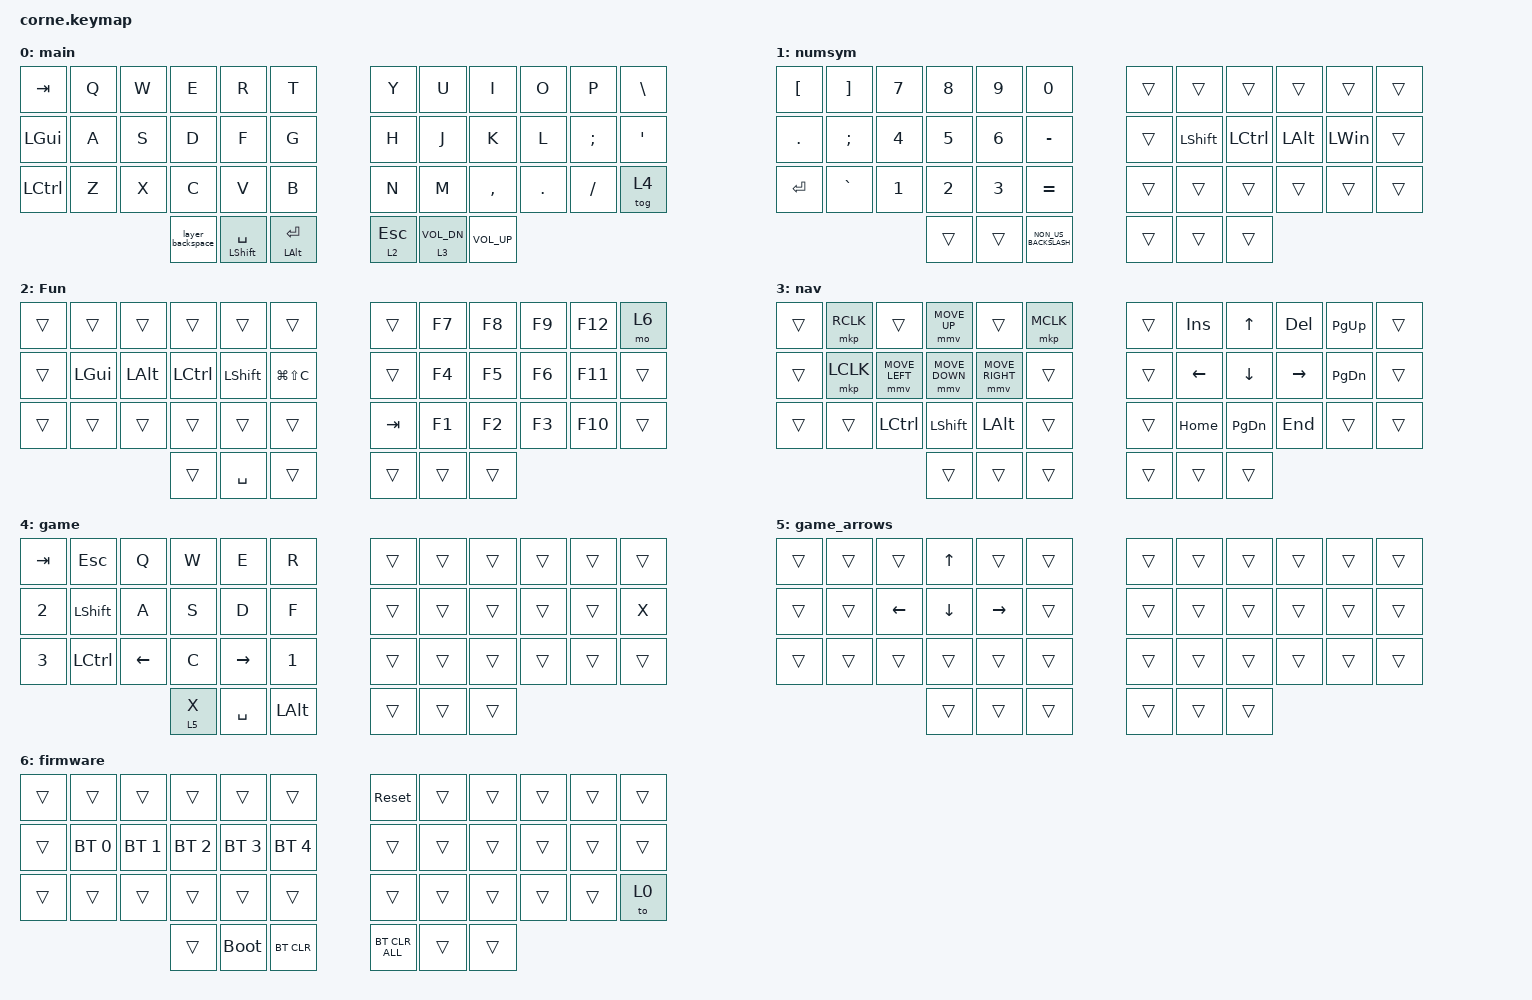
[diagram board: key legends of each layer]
/*
 * Copyright (c) 2020 The ZMK Contributors
 *
 * SPDX-License-Identifier: MIT
 */

#include <dt-bindings/zmk/mouse.h>
#include <behaviors.dtsi>
#include <dt-bindings/zmk/bt.h>
#include <dt-bindings/zmk/keys.h>
#include <dt-bindings/zmk/pointing.h>

&lt { tapping-term-ms = <200>; };

&mt { tapping-term-ms = <200>; };

/ {
    combos {
        compatible = "zmk,combos";

        caps_lock {
            bindings = <&kp CAPSLOCK>;
            key-positions = <24 35>;
        };
    };

    behaviors {
        caps_lock: caps_lock {
            compatible = "zmk,behavior-tap-dance";
            label = "CAPS_LOCK";
            #binding-cells = <0>;
            bindings = <&none>, <&kp CAPSLOCK>;

            tapping-term-ms = <200>;
        };

        layer_backspace: layer_backspace {
            compatible = "zmk,behavior-tap-dance";
            label = "LAYER_BACKSPACE";
            #binding-cells = <0>;
            bindings = <&lt 1 BACKSPACE>, <&kp BACKSPACE>;

            tapping-term-ms = <100>;
        };

        space_nav: space_nav {
            compatible = "zmk,behavior-hold-tap";
            label = "SPACE_NAV";
            bindings = <&mo>, <&kp>;

            #binding-cells = <2>;
            tapping-term-ms = <150>;
            flavor = "tap-preferred";
        };

        space_shift: space_shift {
            compatible = "zmk,behavior-hold-tap";
            label = "SPACE_SHIFT";
            bindings = <&kp>, <&kp>;

            #binding-cells = <2>;
            tapping-term-ms = <300>;
            flavor = "tap-preferred";
        };
    };

    keymap {
        compatible = "zmk,keymap";

        main {
            bindings = <
&kp TAB           &kp Q  &kp W  &kp E             &kp R                          &kp T                 &kp Y         &kp U           &kp I            &kp O    &kp P          &kp BACKSLASH
&kp LEFT_GUI      &kp A  &kp S  &kp D             &kp F                          &kp G                 &kp H         &kp J           &kp K            &kp L    &kp SEMICOLON  &kp SQT
&kp LEFT_CONTROL  &kp Z  &kp X  &kp C             &kp V                          &kp B                 &kp N         &kp M           &kp COMMA        &kp DOT  &kp FSLH       &tog 4
                                &layer_backspace  &space_shift LEFT_SHIFT SPACE  &mt LEFT_ALT ENTER    &lt 2 ESCAPE  &lt 3 C_VOL_DN  &kp C_VOLUME_UP
            >;
        };

        numsym {
            bindings = <
&kp LEFT_BRACKET  &kp RIGHT_BRACKET  &kp N7  &kp N8  &kp N9  &kp N0                  &trans  &trans          &trans     &trans        &trans        &trans
&kp PERIOD        &kp SEMI           &kp N4  &kp N5  &kp N6  &kp MINUS               &trans  &kp LEFT_SHIFT  &kp LCTRL  &kp LEFT_ALT  &kp LEFT_WIN  &trans
&kp ENTER         &kp GRAVE          &kp N1  &kp N2  &kp N3  &kp EQUAL               &trans  &trans          &trans     &trans        &trans        &trans
                                             &trans  &trans  &kp NON_US_BACKSLASH    &trans  &trans          &trans
            >;
        };

        Fun {
            bindings = <
&trans  &trans    &trans    &trans     &trans     &trans           &trans   &kp F7  &kp F8  &kp F9  &kp F12  &mo 6
&trans  &kp LGUI  &kp LALT  &kp LCTRL  &kp LSHFT  &kp LG(LS(C))    &trans   &kp F4  &kp F5  &kp F6  &kp F11  &trans
&trans  &trans    &trans    &trans     &trans     &trans           &kp TAB  &kp F1  &kp F2  &kp F3  &kp F10  &trans
                            &trans     &kp SPACE  &trans           &trans   &trans  &trans
            >;
        };

        nav {
            bindings = <
&trans  &mkp RCLK  &trans          &mmv MOVE_UP    &trans           &mkp MCLK    &trans  &kp INS   &kp UP_ARROW  &kp DELETE       &kp PG_UP  &trans
&trans  &mkp LCLK  &mmv MOVE_LEFT  &mmv MOVE_DOWN  &mmv MOVE_RIGHT  &trans       &trans  &kp LEFT  &kp DOWN      &kp RIGHT_ARROW  &kp PG_DN  &trans
&trans  &trans     &kp LCTRL       &kp LSHIFT      &kp LEFT_ALT     &trans       &trans  &kp HOME  &kp PG_DN     &kp END          &trans     &trans
                                   &trans          &trans           &trans       &trans  &trans    &trans
            >;
        };

        game {
            bindings = <
&kp TAB       &kp ESCAPE        &kp Q     &kp W    &kp E      &kp R           &trans  &trans  &trans  &trans  &trans  &trans
&kp NUMBER_2  &kp LSHFT         &kp A     &kp S    &kp D      &kp F           &trans  &trans  &trans  &trans  &trans  &kp X
&kp NUMBER_3  &kp LEFT_CONTROL  &kp LEFT  &kp C    &kp RIGHT  &kp NUMBER_1    &trans  &trans  &trans  &trans  &trans  &trans
                                          &lt 5 X  &kp SPACE  &kp LEFT_ALT    &trans  &trans  &trans
            >;
        };

        game_arrows {
            bindings = <
&trans  &trans  &trans          &kp UP_ARROW    &trans           &trans    &trans  &trans  &trans  &trans  &trans  &trans
&trans  &trans  &kp LEFT_ARROW  &kp DOWN_ARROW  &kp RIGHT_ARROW  &trans    &trans  &trans  &trans  &trans  &trans  &trans
&trans  &trans  &trans          &trans          &trans           &trans    &trans  &trans  &trans  &trans  &trans  &trans
                                &trans          &trans           &trans    &trans  &trans  &trans
            >;
        };

        firmware {
            bindings = <
&trans  &trans        &trans        &trans        &trans        &trans          &sys_reset      &trans  &trans  &trans  &trans  &trans
&trans  &bt BT_SEL 0  &bt BT_SEL 1  &bt BT_SEL 2  &bt BT_SEL 3  &bt BT_SEL 4    &trans          &trans  &trans  &trans  &trans  &trans
&trans  &trans        &trans        &trans        &trans        &trans          &trans          &trans  &trans  &trans  &trans  &to 0
                                    &trans        &bootloader   &bt BT_CLR      &bt BT_CLR_ALL  &trans  &trans
            >;
        };
    };
};
